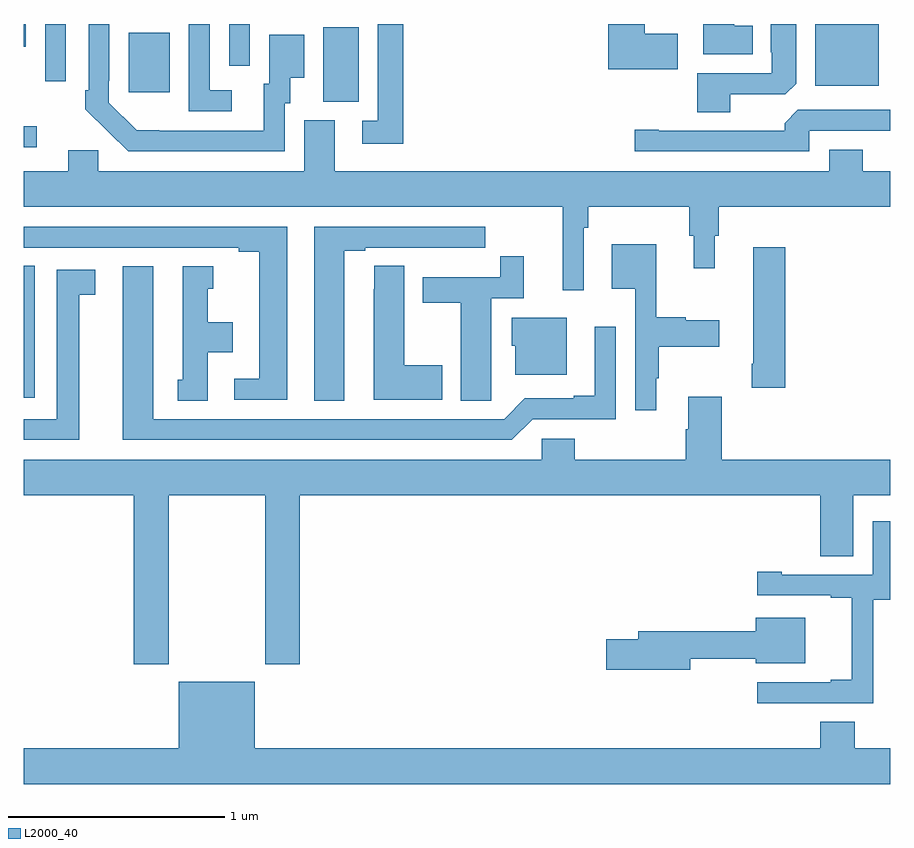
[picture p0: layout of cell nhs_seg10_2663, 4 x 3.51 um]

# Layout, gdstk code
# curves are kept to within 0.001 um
import gdstk
lib = gdstk.Library(unit=1e-6, precision=1e-09)
def R(c, l, rs):  # rectangles x0, y0, x1, y1
    for r in rs: c.add(gdstk.rectangle(r[:2], r[2:], *l))
def P(c, l, *ps):  # polygons
    for p in ps: c.add(gdstk.Polygon(p, *l))
L2000_40 = (2000, 40)

nhs_seg10_2663 = lib.new_cell('nhs_seg10_2663')
R(nhs_seg10_2663, L2000_40, [(255,1292.775,255.052,1293.383), (255,1293.93,255.061,1294.027), (256.382,1294.141,256.546,1294.484), (255.485,1294.185,255.673,1294.459), (258.653,1294.214,258.946,1294.5), (255.099,1294.236,255.195,1294.5), (255.948,1294.308,256.044,1294.5), (255,1294.394,255.01,1294.5)])
P(nhs_seg10_2663, L2000_40, [(258.364,1294.492),(258.28,1294.492),(258.28,1294.5),(258.137,1294.5),(258.137,1294.361),(258.364,1294.361)],
  [(258.262,1294.176),(258.516,1294.176),(258.565,1294.225),(258.565,1294.5),(258.449,1294.5),(258.449,1294.369),(258.453,1294.369),(258.453,1294.272),(258.11,1294.272),(258.11,1294.093),(258.262,1294.093)],
  [(258.019,1294.455),(257.866,1294.455),(257.866,1294.5),(257.699,1294.5),(257.699,1294.292),(258.019,1294.292)],
  [(256.206,1294.134),(256.231,1294.134),(256.231,1294.253),(256.294,1294.253),(256.294,1294.45),(256.133,1294.45),(256.133,1294.224),(256.109,1294.224),(256.109,1294.008),(255.522,1294.009),(255.393,1294.137),(255.393,1294.237),(255.396,1294.237),(255.396,1294.5),(255.3,1294.5),(255.3,1294.195),(255.285,1294.195),(255.285,1294.107),(255.482,1293.912),(256.206,1293.912)],
  [(256.751,1294.5),(256.635,1294.5),(256.635,1294.053),(256.563,1294.053),(256.563,1293.948),(256.751,1293.948)],
  [(255.961,1294.194),(255.858,1294.194),(255.858,1294.5),(255.762,1294.5),(255.762,1294.098),(255.961,1294.098)],
  [(258.627,1294.008),(259,1294.008),(259,1294.104),(258.573,1294.104),(258.512,1294.042),(258.512,1294.008),(257.932,1294.008),(257.932,1294.013),(257.82,1294.013),(257.82,1293.912),(258.627,1293.912)],
  [(257.586,1293.56),(257.606,1293.56),(257.606,1293.656),(258.073,1293.656),(258.073,1293.522),(258.092,1293.522),(258.092,1293.372),(258.19,1293.372),(258.19,1293.522),(258.209,1293.522),(258.209,1293.656),(259,1293.656),(259,1293.82),(258.872,1293.82),(258.872,1293.919),(258.719,1293.919),(258.719,1293.82),(256.435,1293.82),(256.435,1294.056),(256.295,1294.056),(256.295,1293.82),(255.345,1293.82),(255.345,1293.918),(255.206,1293.918),(255.206,1293.82),(255,1293.82),(255,1293.656),(257.489,1293.656),(257.489,1293.27),(257.586,1293.27)],
  [(256.48,1293.453),(256.576,1293.453),(256.576,1293.468),(256.852,1293.468),(256.852,1293.467),(257.018,1293.467),(257.018,1293.468),(257.131,1293.468),(257.131,1293.564),(256.34,1293.564),(256.34,1292.761),(256.48,1292.761)],
  [(256.216,1293.564),(255,1293.564),(255,1293.468),(255.992,1293.468),(255.992,1293.448),(256.088,1293.448),(256.088,1292.862),(255.972,1292.862),(255.972,1292.766),(256.216,1292.766)],
  [(257.92,1292.866),(257.932,1292.866),(257.932,1293.011),(258.211,1293.011),(258.211,1293.133),(258.057,1293.133),(258.057,1293.146),(257.92,1293.146),(257.92,1293.484),(257.714,1293.484),(257.714,1293.278),(257.823,1293.278),(257.823,1292.718),(257.92,1292.718)],
  [(258.515,1293.469),(258.368,1293.469),(258.368,1292.932),(258.361,1292.932),(258.361,1292.82),(258.515,1292.82)],
  [(257.157,1292.872),(257.158,1292.872),(257.158,1293.234),(257.309,1293.234),(257.309,1293.427),(257.2,1293.427),(257.2,1293.33),(256.841,1293.33),(256.841,1293.214),(257.018,1293.214),(257.018,1292.761),(257.157,1292.761)],
  [(256.933,1292.925),(256.756,1292.925),(256.756,1293.383),(256.617,1293.383),(256.617,1293.275),(256.616,1293.275),(256.616,1292.765),(256.933,1292.765)],
  [(255.85,1292.984),(255.964,1292.984),(255.964,1293.124),(255.85,1293.124),(255.85,1293.279),(255.874,1293.279),(255.874,1293.382),(255.734,1293.382),(255.734,1292.859),(255.71,1292.859),(255.71,1292.761),(255.85,1292.761)],
  [(257.349,1292.676),(257.733,1292.676),(257.733,1293.103),(257.636,1293.103),(257.636,1292.785),(257.54,1292.785),(257.54,1292.772),(257.313,1292.772),(257.217,1292.676),(255.598,1292.676),(255.598,1293.382),(255.458,1293.382),(255.458,1292.58),(257.253,1292.58)],
  [(255.256,1293.25),(255.331,1293.25),(255.331,1293.366),(255.152,1293.366),(255.152,1292.676),(255,1292.676),(255,1292.58),(255.256,1292.58)],
  [(257.506,1293.145),(257.252,1293.145),(257.252,1293.015),(257.27,1293.015),(257.27,1292.882),(257.506,1292.882)],
  [(255.669,1292.324),(256.114,1292.324),(256.114,1291.545),(256.274,1291.545),(256.274,1292.324),(258.677,1292.324),(258.677,1292.044),(258.829,1292.044),(258.829,1292.324),(259,1292.324),(259,1292.488),(258.221,1292.488),(258.221,1292.779),(258.068,1292.779),(258.068,1292.63),(258.056,1292.63),(258.056,1292.488),(257.543,1292.488),(257.543,1292.586),(257.391,1292.586),(257.391,1292.488),(255,1292.488),(255,1292.324),(255.509,1292.324),(255.509,1291.545),(255.669,1291.545)],
  [(258.921,1291.843),(259,1291.843),(259,1292.205),(258.918,1292.205),(258.918,1291.959),(258.499,1291.959),(258.499,1291.972),(258.387,1291.972),(258.387,1291.863),(258.725,1291.863),(258.725,1291.851),(258.821,1291.851),(258.821,1291.474),(258.725,1291.474),(258.725,1291.461),(258.387,1291.461),(258.387,1291.365),(258.921,1291.365)],
  [(258.076,1291.569),(258.38,1291.569),(258.38,1291.55),(258.607,1291.55),(258.607,1291.759),(258.38,1291.759),(258.38,1291.697),(257.837,1291.697),(257.837,1291.661),(257.688,1291.661),(257.688,1291.519),(258.076,1291.519)],
  [(259,1291.156),(258.837,1291.156),(258.837,1291.28),(258.677,1291.28),(258.677,1291.156),(256.066,1291.156),(256.066,1291.465),(255.716,1291.465),(255.716,1291.156),(255,1291.156),(255,1290.992),(259,1290.992)])

lib.write_gds('nhs_seg10_2663.gds')
